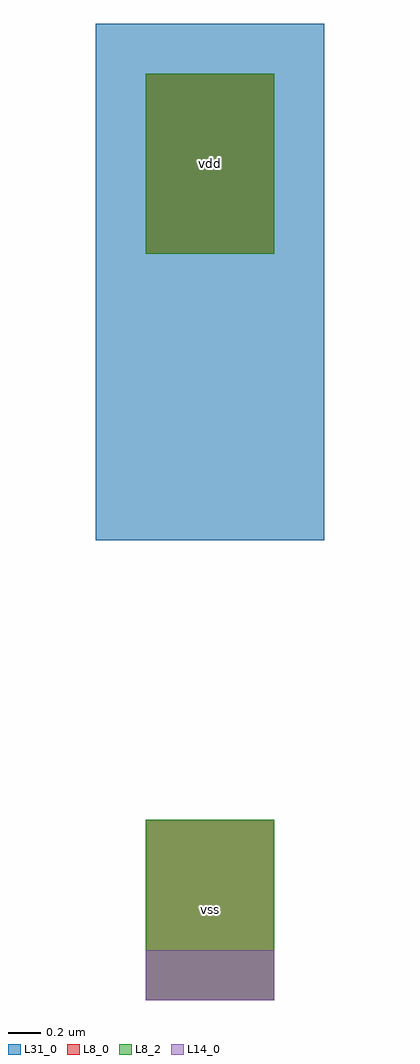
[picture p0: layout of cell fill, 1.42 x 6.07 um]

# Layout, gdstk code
import gdstk
lib = gdstk.Library(unit=1e-6, precision=1e-09)
def R(c, l, rs):  # rectangles x0, y0, x1, y1
    for r in rs: c.add(gdstk.rectangle(r[:2], r[2:], *l))
L8_0 = (8, 0)
L8_2 = (8, 2)
L14_0 = (14, 0)
L31_0 = (31, 0)

fill = lib.new_cell('fill')
R(fill, L8_0, [(0,0,0.8,1.12), (0,4.64,0.8,5.76)])
R(fill, L8_2, [(0,0,0.8,1.12), (0,4.64,0.8,5.76)])
R(fill, L14_0, [(0,0,0.8,0.31)])
R(fill, L31_0, [(-0.31,2.86,1.11,6.07)])
fill.add(gdstk.Label('vdd', (0.4,5.2), layer=8, texttype=2))
fill.add(gdstk.Label('vss', (0.4,0.56), layer=8, texttype=2))

lib.write_gds('fill.gds')
